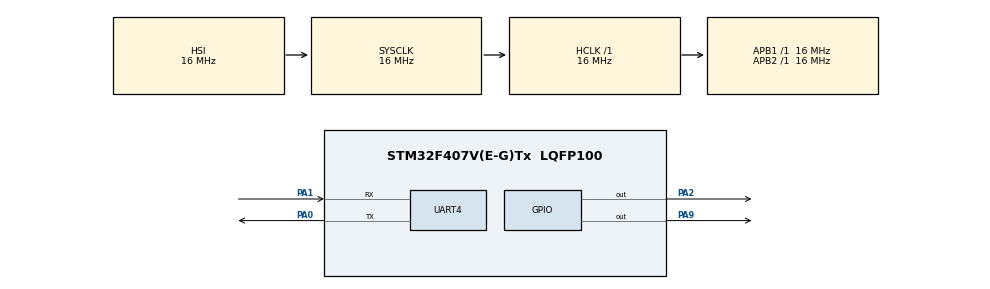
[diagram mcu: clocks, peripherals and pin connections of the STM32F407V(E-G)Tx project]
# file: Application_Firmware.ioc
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FREERTOS.Tasks01=defaultTask,0,128,StartDefaultTask,Default,NULL,Dynamic,NULL,NULL
Mcu.Family=STM32F4
Mcu.Name=STM32F407V(E-G)Tx
Mcu.Package=LQFP100
NVIC.PriorityGroup=NVIC_PRIORITYGROUP_4
NVIC.TIM6_DAC_IRQn=true\:15\:0\:false\:false\:true\:false\:false\:true\:true
NVIC.TimeBase=TIM6_DAC_IRQn
NVIC.TimeBaseIP=TIM6
NVIC.UART4_IRQn=true\:5\:0\:false\:false\:true\:true\:true\:true\:true
PA0-WKUP.Mode=Asynchronous
PA0-WKUP.Signal=UART4_TX
PA1.Mode=Asynchronous
PA1.Signal=UART4_RX
PA2.Signal=GPIO_Output
PA9.Signal=GPIO_Output
ProjectManager.HeapSize=0x200
ProjectManager.StackSize=0x400
ProjectManager.TargetToolchain=STM32CubeIDE
RCC.AHBFreq_Value=16000000
RCC.APB1Freq_Value=16000000
RCC.APB2Freq_Value=16000000
RCC.CortexFreq_Value=16000000
RCC.HSE_VALUE=25000000
RCC.HSI_VALUE=16000000
RCC.LSE_VALUE=32768
RCC.SYSCLKFreq_VALUE=16000000
RCC.VCOOutputFreq_Value=192000000
UART4.VirtualMode=Asynchronous
VP_FREERTOS_VS_CMSIS_V1.Mode=CMSIS_V1
VP_SYS_VS_tim6.Mode=TIM6
board=custom

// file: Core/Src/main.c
/* USER CODE BEGIN Header */
/**
  ******************************************************************************
  * @file           : main.c
  * @brief          : Main program body
  ******************************************************************************
  * @attention
  *
  * Copyright (c) 2024 STMicroelectronics.
  * All rights reserved.
  *
  * This software is licensed under terms that can be found in the LICENSE file
  * in the root directory of this software component.
  * If no LICENSE file comes with this software, it is provided AS-IS.
  *
  ******************************************************************************
  */
/* USER CODE END Header */
#include "main.h"
#include "cmsis_os.h"

/* USER CODE BEGIN PTD */

typedef struct {
    uint16_t chunkSize;  // Size of the binary payload
    uint8_t payload[256]; // Maximum payload size
} BinaryChunk_t;

typedef enum
{
	ReceiveSizeChunk,
	ReceiveChunk

}ReceiveState;

/* USER CODE END PTD */

/* USER CODE BEGIN PD */

#define MAX_CHUNK_SIZE 256U

/* USER CODE END PD */

 UART_HandleTypeDef huart4;
osThreadId defaultTaskHandle;
/* USER CODE BEGIN PV */
static uint8_t rxIndex[2];
static uint16_t expectedChunkSize = 0;
static uint8_t rxBuffer[MAX_CHUNK_SIZE + 2]; // Buffer for incoming data (payload + header)
static ReceiveState State = ReceiveSizeChunk;
static uint8_t ACK_SIZE = 0x06U;
static uint8_t ACK_CHUNK = 0x05U;

/* USER CODE END PV */

void SystemClock_Config(void);
static void MX_GPIO_Init(void);
static void MX_UART4_Init(void);
void StartDefaultTask(void const * argument);

int main(void)
{

  /* MCU Configuration--------------------------------------------------------*/

  /* Reset of all peripherals, Initializes the Flash interface and the Systick. */
  HAL_Init();

  /* Configure the system clock */
  SystemClock_Config();

  /* Initialize all configured peripherals */
  MX_GPIO_Init();
  MX_UART4_Init();
  /* USER CODE BEGIN 2 */

  /*Activation de l'interruption pour la récéption des deux premiers
   * octets qui représentent la taille du Data */
  HAL_UART_Receive_IT(&huart4, rxBuffer, 2U);

  /* USER CODE END 2 */

  /* Create the thread(s) */
  /* definition and creation of defaultTask */
  osThreadDef(defaultTask, StartDefaultTask, osPriorityNormal, 0, 128);
  defaultTaskHandle = osThreadCreate(osThread(defaultTask), NULL);

  /* Start scheduler */
  osKernelStart();

  /* We should never get here as control is now taken by the scheduler */
  /* Infinite loop */
  while (1)
  {

  }
}

void SystemClock_Config(void)
{
  RCC_OscInitTypeDef RCC_OscInitStruct = {0};
  RCC_ClkInitTypeDef RCC_ClkInitStruct = {0};

  /** Configure the main internal regulator output voltage
  */
  __HAL_RCC_PWR_CLK_ENABLE();
  __HAL_PWR_VOLTAGESCALING_CONFIG(PWR_REGULATOR_VOLTAGE_SCALE1);

  /** Initializes the RCC Oscillators according to the specified parameters
  * in the RCC_OscInitTypeDef structure.
  */
  RCC_OscInitStruct.OscillatorType = RCC_OSCILLATORTYPE_HSI;
  RCC_OscInitStruct.HSIState = RCC_HSI_ON;
  RCC_OscInitStruct.HSICalibrationValue = RCC_HSICALIBRATION_DEFAULT;
  RCC_OscInitStruct.PLL.PLLState = RCC_PLL_NONE;
  if (HAL_RCC_OscConfig(&RCC_OscInitStruct) != HAL_OK)
  {
    Error_Handler();
  }

  /** Initializes the CPU, AHB and APB buses clocks
  */
  RCC_ClkInitStruct.ClockType = RCC_CLOCKTYPE_HCLK|RCC_CLOCKTYPE_SYSCLK
                              |RCC_CLOCKTYPE_PCLK1|RCC_CLOCKTYPE_PCLK2;
  RCC_ClkInitStruct.SYSCLKSource = RCC_SYSCLKSOURCE_HSI;
  RCC_ClkInitStruct.AHBCLKDivider = RCC_SYSCLK_DIV1;
  RCC_ClkInitStruct.APB1CLKDivider = RCC_HCLK_DIV1;
  RCC_ClkInitStruct.APB2CLKDivider = RCC_HCLK_DIV1;

  if (HAL_RCC_ClockConfig(&RCC_ClkInitStruct, FLASH_LATENCY_0) != HAL_OK)
  {
    Error_Handler();
  }
}

static void MX_UART4_Init(void)
{

  huart4.Instance = UART4;
  huart4.Init.BaudRate = 9600;
  huart4.Init.WordLength = UART_WORDLENGTH_8B;
  huart4.Init.StopBits = UART_STOPBITS_1;
  huart4.Init.Parity = UART_PARITY_NONE;
  huart4.Init.Mode = UART_MODE_TX_RX;
  huart4.Init.HwFlowCtl = UART_HWCONTROL_NONE;
  huart4.Init.OverSampling = UART_OVERSAMPLING_16;
  if (HAL_UART_Init(&huart4) != HAL_OK)
  {
    Error_Handler();
  }

}

static void MX_GPIO_Init(void)
{
  GPIO_InitTypeDef GPIO_InitStruct = {0};

  /* GPIO Ports Clock Enable */
  __HAL_RCC_GPIOA_CLK_ENABLE();

  /*Configure GPIO pin Output Level */
  HAL_GPIO_WritePin(GPIOA, GPIO_PIN_2|GPIO_PIN_9, GPIO_PIN_RESET);

  /*Configure GPIO pins : PA2 PA9 */
  GPIO_InitStruct.Pin = GPIO_PIN_2|GPIO_PIN_9;
  GPIO_InitStruct.Mode = GPIO_MODE_OUTPUT_PP;
  GPIO_InitStruct.Pull = GPIO_NOPULL;
  GPIO_InitStruct.Speed = GPIO_SPEED_FREQ_LOW;
  HAL_GPIO_Init(GPIOA, &GPIO_InitStruct);

}

/* USER CODE BEGIN 4 */

void HAL_UARTEx_RxEventCallback(UART_HandleTypeDef *huart, uint16_t Size)
{
    if(huart->Instance == UART4)
    {
        if(expectedChunkSize == 0U)
        {
            expectedChunkSize = (uint16_t)((rxBuffer[0] << 8) | rxBuffer[1]); // calculate the size of the data
            HAL_UART_Receive_IT(huart, rxBuffer, expectedChunkSize); //Reactivate reception for the data
        }
        else
        {
            expectedChunkSize = 0U; // Reinitialize expected chunk size
            HAL_UART_Receive_IT(&huart4, rxBuffer, 2U); // Reactivate reception for the next chunk of data
        }

    }

//rxBuffer[rxIndex] = (uint8_t)(huart4.Instance->DR);
//        rxIndex++;
//
//        //Chunk size is received
//        if(rxIndex == 2U && expectedChunkSize == 0U )
//        {
//            //Calculate Expected Chunk Size
//            expectedChunkSize = (uint8_t)(rxBuffer[0]<<8U | rxBuffer[1]);
//            if(expectedChunkSize > MAX_CHUNK_SIZE)
//            {
//                Error_Handler();
//            }
//            else
//            {
//                ;
//            }
//        }
//    }
}

void CreateChunkQueue(void)
{
    if (xQueueCreate(10, sizeof( BinaryChunk_t)) == NULL)
    {
        Error_Handler();
    }
}

/* USER CODE END 4 */

void StartDefaultTask(void const * argument)
{
  for(;;)
  {
    osDelay(1);
  }
}

void HAL_TIM_PeriodElapsedCallback(TIM_HandleTypeDef *htim)
{
  if (htim->Instance == TIM6) {
    HAL_IncTick();
  }
}

void Error_Handler(void)
{
  __disable_irq();
  while (1)
  {
  }
}
